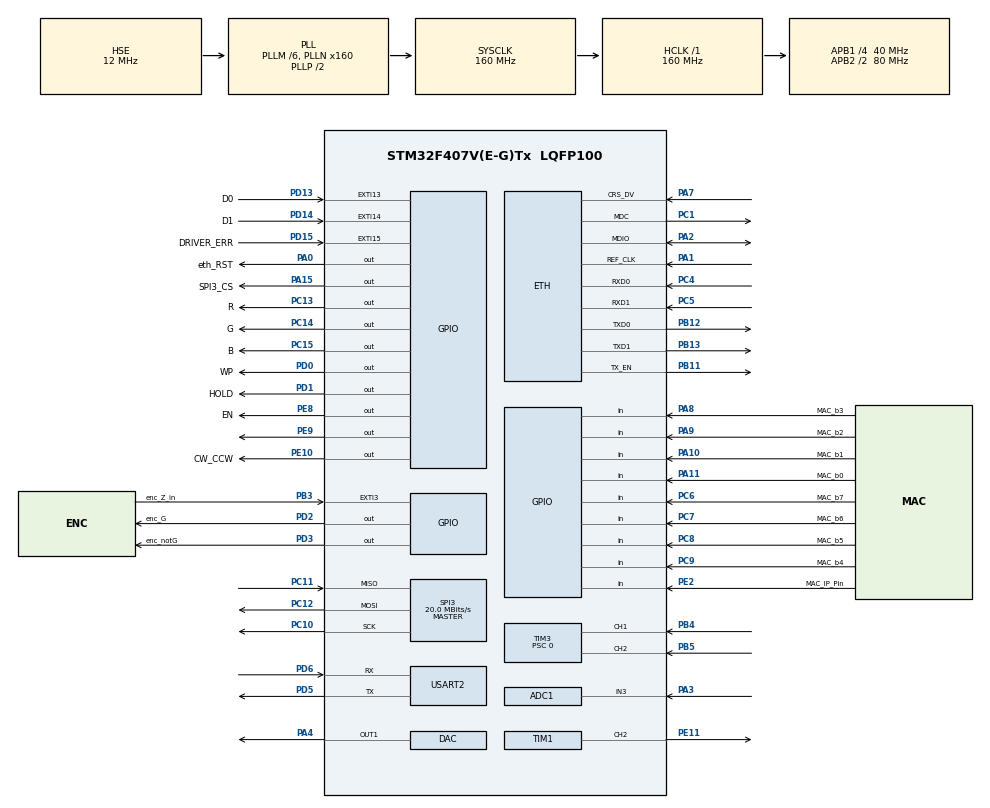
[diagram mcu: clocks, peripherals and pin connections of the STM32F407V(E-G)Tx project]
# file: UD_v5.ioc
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ADC1.Channel-0\#ChannelRegularConversion=ADC_CHANNEL_3
ADC1.NbrOfConversionFlag=1
ADC1.Rank-0\#ChannelRegularConversion=1
ADC1.SamplingTime-0\#ChannelRegularConversion=ADC_SAMPLETIME_3CYCLES
ADC1.master=1
Dma.Request0=USART2_TX
Dma.Request1=USART2_RX
Dma.USART2_RX.1.Direction=DMA_PERIPH_TO_MEMORY
Dma.USART2_RX.1.FIFOMode=DMA_FIFOMODE_DISABLE
Dma.USART2_RX.1.Instance=DMA1_Stream5
Dma.USART2_RX.1.MemDataAlignment=DMA_MDATAALIGN_BYTE
Dma.USART2_RX.1.MemInc=DMA_MINC_ENABLE
Dma.USART2_RX.1.Mode=DMA_CIRCULAR
Dma.USART2_RX.1.PeriphDataAlignment=DMA_PDATAALIGN_BYTE
Dma.USART2_RX.1.PeriphInc=DMA_PINC_DISABLE
Dma.USART2_RX.1.Priority=DMA_PRIORITY_MEDIUM
Dma.USART2_TX.0.Direction=DMA_MEMORY_TO_PERIPH
Dma.USART2_TX.0.FIFOMode=DMA_FIFOMODE_DISABLE
Dma.USART2_TX.0.Instance=DMA1_Stream6
Dma.USART2_TX.0.MemDataAlignment=DMA_MDATAALIGN_BYTE
Dma.USART2_TX.0.MemInc=DMA_MINC_ENABLE
Dma.USART2_TX.0.Mode=DMA_NORMAL
Dma.USART2_TX.0.PeriphDataAlignment=DMA_PDATAALIGN_BYTE
Dma.USART2_TX.0.PeriphInc=DMA_PINC_DISABLE
Dma.USART2_TX.0.Priority=DMA_PRIORITY_MEDIUM
ETH.MACAddr=44\:84\:23\:84\:44\:77
ETH.MediaInterface=HAL_ETH_RMII_MODE
ETH.PhyAddress=0
FREERTOS.Queues01=rxDataUART2,16,uint8_t,0,Dynamic,NULL,NULL
FREERTOS.Tasks01=mainTask,0,512,MainTask,Default,NULL,Dynamic,NULL,NULL;Motor_pool,0,256,motor_pool,Default,NULL,Dynamic,NULL,NULL;ledTask,0,512,LedTask,Default,NULL,Dynamic,NULL,NULL;callTask,0,256,CallTask,Default,NULL,Dynamic,NULL,NULL;uart_task,0,1024,uart_Task,Default,NULL,Dynamic,NULL,NULL;loggerTask,0,128,LoggerTask,Default,NULL,Dynamic,NULL,NULL
FREERTOS.configTOTAL_HEAP_SIZE=40960
FREERTOS.configUSE_NEWLIB_REENTRANT=1
FREERTOS.configAPPLICATION_ALLOCATED_HEAP=1
LWIP.BSP.number=1
LWIP.LWIP_DHCP=0
LWIP.LWIP_DNS=1
LWIP.LWIP_NETIF_EXT_STATUS_CALLBACK=1
LWIP.LWIP_NETIF_STATUS_CALLBACK=1
LWIP.Version=v2.1.2_Cube
LWIP0.BSP.STBoard=false
LWIP0.BSP.api=BSP_COMPONENT_DRIVER
LWIP0.BSP.component=LAN8742
LWIP0.BSP.instance=LAN8742
LWIP0.BSP.name=Driver_PHY
LWIP0.BSP.semaphore=S_LAN8742
LWIP0.BSP.solution=LAN8742
Mcu.Family=STM32F4
Mcu.Name=STM32F407V(E-G)Tx
Mcu.Package=LQFP100
NVIC.DMA1_Stream5_IRQn=true\:5\:0\:false\:false\:true\:true\:false\:true\:true
NVIC.DMA1_Stream6_IRQn=true\:5\:0\:false\:false\:true\:true\:false\:true\:true
NVIC.ETH_IRQn=true\:5\:0\:false\:false\:true\:true\:false\:true\:true
NVIC.EXTI15_10_IRQn=true\:5\:0\:false\:false\:true\:true\:true\:true\:true
NVIC.EXTI3_IRQn=true\:5\:0\:false\:false\:true\:true\:true\:true\:true
NVIC.PriorityGroup=NVIC_PRIORITYGROUP_4
NVIC.TIM1_CC_IRQn=true\:5\:0\:false\:false\:true\:true\:true\:true\:true
NVIC.TIM1_UP_TIM10_IRQn=true\:5\:0\:false\:false\:true\:true\:true\:true\:true
NVIC.TIM3_IRQn=true\:5\:0\:false\:false\:true\:true\:true\:true\:true
NVIC.TIM4_IRQn=true\:5\:0\:false\:false\:true\:true\:true\:true\:true
NVIC.TIM6_DAC_IRQn=true\:5\:0\:false\:false\:true\:true\:true\:true\:true
NVIC.TIM7_IRQn=true\:15\:0\:false\:false\:true\:false\:false\:true\:true
NVIC.TimeBase=TIM7_IRQn
NVIC.TimeBaseIP=TIM7
NVIC.USART2_IRQn=true\:5\:0\:false\:false\:true\:true\:true\:true\:true
PA0-WKUP.GPIO_Label=eth_RST
PA0-WKUP.Signal=GPIO_Output
PA1.GPIO_PuPd=GPIO_NOPULL
PA1.Mode=RMII
PA1.Signal=ETH_REF_CLK
PA10.GPIO_Label=MAC_b1
PA10.GPIO_PuPd=GPIO_PULLDOWN
PA10.Signal=GPIO_Input
PA11.GPIO_Label=MAC_b0
PA11.GPIO_PuPd=GPIO_PULLDOWN
PA11.Signal=GPIO_Input
PA13.Mode=Serial_Wire
PA13.Signal=SYS_JTMS-SWDIO
PA14.Mode=Serial_Wire
PA14.Signal=SYS_JTCK-SWCLK
PA15.GPIO_Label=SPI3_CS
PA15.Signal=GPIO_Output
PA2.GPIO_PuPd=GPIO_NOPULL
PA2.Mode=RMII
PA2.Signal=ETH_MDIO
PA3.Signal=ADCx_IN3
PA4.Signal=COMP_DAC1_group
PA7.GPIO_PuPd=GPIO_NOPULL
PA7.Mode=RMII
PA7.Signal=ETH_CRS_DV
PA8.GPIO_Label=MAC_b3
PA8.GPIO_PuPd=GPIO_PULLDOWN
PA8.Signal=GPIO_Input
PA9.GPIO_Label=MAC_b2
PA9.GPIO_PuPd=GPIO_PULLDOWN
PA9.Signal=GPIO_Input
PB11.GPIO_PuPd=GPIO_NOPULL
PB11.Mode=RMII
PB11.Signal=ETH_TX_EN
PB12.GPIO_PuPd=GPIO_NOPULL
PB12.Mode=RMII
PB12.Signal=ETH_TXD0
PB13.GPIO_PuPd=GPIO_NOPULL
PB13.Mode=RMII
PB13.Signal=ETH_TXD1
PB3.GPIO_Label=enc_Z_in
PB3.Signal=GPXTI3
PB4.Signal=S_TIM3_CH1
PB5.Signal=S_TIM3_CH2
PC1.GPIO_PuPd=GPIO_NOPULL
PC1.Mode=RMII
PC1.Signal=ETH_MDC
PC10.Mode=Full_Duplex_Master
PC10.Signal=SPI3_SCK
PC11.Mode=Full_Duplex_Master
PC11.Signal=SPI3_MISO
PC12.Mode=Full_Duplex_Master
PC12.Signal=SPI3_MOSI
PC13-ANTI_TAMP.GPIO_Label=R
PC13-ANTI_TAMP.PinState=GPIO_PIN_SET
PC13-ANTI_TAMP.Signal=GPIO_Output
PC14-OSC32_IN.GPIO_Label=G
PC14-OSC32_IN.PinState=GPIO_PIN_SET
PC14-OSC32_IN.Signal=GPIO_Output
PC15-OSC32_OUT.GPIO_Label=B
PC15-OSC32_OUT.PinState=GPIO_PIN_SET
PC15-OSC32_OUT.Signal=GPIO_Output
PC4.GPIO_PuPd=GPIO_NOPULL
PC4.Mode=RMII
PC4.Signal=ETH_RXD0
PC5.GPIO_PuPd=GPIO_NOPULL
PC5.Mode=RMII
PC5.Signal=ETH_RXD1
PC6.GPIO_Label=MAC_b7
PC6.GPIO_PuPd=GPIO_PULLDOWN
PC6.Signal=GPIO_Input
PC7.GPIO_Label=MAC_b6
PC7.GPIO_PuPd=GPIO_PULLDOWN
PC7.Signal=GPIO_Input
PC8.GPIO_Label=MAC_b5
PC8.GPIO_PuPd=GPIO_PULLDOWN
PC8.Signal=GPIO_Input
PC9.GPIO_Label=MAC_b4
PC9.GPIO_PuPd=GPIO_PULLDOWN
PC9.Signal=GPIO_Input
PD0.GPIO_Label=WP
PD0.Signal=GPIO_Output
PD1.GPIO_Label=HOLD
PD1.Signal=GPIO_Output
PD13.GPIO_Label=D0
PD13.GPIO_ModeDefaultEXTI=GPIO_MODE_IT_RISING
PD13.GPIO_PuPd=GPIO_PULLDOWN
PD13.Signal=GPXTI13
PD14.GPIO_Label=D1
PD14.GPIO_ModeDefaultEXTI=GPIO_MODE_IT_RISING
PD14.GPIO_PuPd=GPIO_PULLDOWN
PD14.Signal=GPXTI14
PD15.GPIO_Label=DRIVER_ERR
PD15.GPIO_ModeDefaultEXTI=GPIO_MODE_IT_RISING
PD15.GPIO_PuPd=GPIO_PULLDOWN
PD15.Signal=GPXTI15
PD2.GPIO_Label=enc_G
PD2.GPIO_ModeDefaultOutputPP=GPIO_MODE_OUTPUT_PP
PD2.GPIO_PuPd=GPIO_NOPULL
PD2.GPIO_Speed=GPIO_SPEED_FREQ_LOW
PD2.PinState=GPIO_PIN_RESET
PD2.Signal=GPIO_Output
PD3.GPIO_Label=enc_notG
PD3.GPIO_ModeDefaultOutputPP=GPIO_MODE_OUTPUT_PP
PD3.GPIO_PuPd=GPIO_NOPULL
PD3.GPIO_Speed=GPIO_SPEED_FREQ_LOW
PD3.PinState=GPIO_PIN_RESET
PD3.Signal=GPIO_Output
PD5.Mode=Asynchronous
PD5.Signal=USART2_TX
PD6.Mode=Asynchronous
PD6.Signal=USART2_RX
PE10.GPIO_Label=CW_CCW
PE10.Signal=GPIO_Output
PE11.GPIO_Speed=GPIO_SPEED_FREQ_HIGH
PE11.Signal=S_TIM1_CH2
PE2.GPIO_Label=MAC_IP_Pin
PE2.GPIO_PuPd=GPIO_PULLDOWN
PE2.Signal=GPIO_Input
PE8.GPIO_Label=EN
PE8.Signal=GPIO_Output
PE9.Signal=GPIO_Output
PH0-OSC_IN.Mode=HSE-External-Oscillator
PH0-OSC_IN.Signal=RCC_OSC_IN
PH1-OSC_OUT.Mode=HSE-External-Oscillator
PH1-OSC_OUT.Signal=RCC_OSC_OUT
ProjectManager.HeapSize=0x4000
ProjectManager.StackSize=0x4000
ProjectManager.TargetToolchain=STM32CubeIDE
RCC.48MHZClocksFreq_Value=80000000
RCC.AHBFreq_Value=160000000
RCC.APB1CLKDivider=RCC_HCLK_DIV4
RCC.APB1Freq_Value=40000000
RCC.APB1TimFreq_Value=80000000
RCC.APB2CLKDivider=RCC_HCLK_DIV2
RCC.APB2Freq_Value=80000000
RCC.APB2TimFreq_Value=160000000
RCC.CortexFreq_Value=160000000
RCC.HCLKFreq_Value=160000000
RCC.HSE_VALUE=12000000
RCC.HSI_VALUE=16000000
RCC.LSE_VALUE=32768
RCC.PLLM=6
RCC.PLLN=160
RCC.PLLSourceVirtual=RCC_PLLSOURCE_HSE
RCC.SYSCLKFreq_VALUE=160000000
RCC.SYSCLKSource=RCC_SYSCLKSOURCE_PLLCLK
RCC.VCOOutputFreq_Value=320000000
SH.ADCx_IN3.0=ADC1_IN3,IN3
SH.COMP_DAC1_group.0=DAC_OUT1,DAC_OUT1
SH.S_TIM1_CH2.0=TIM1_CH2,PWM Generation2 CH2
SH.S_TIM3_CH1.0=TIM3_CH1,Encoder_Interface
SH.S_TIM3_CH2.0=TIM3_CH2,Encoder_Interface
SPI3.CalculateBaudRate=20.0 MBits/s
SPI3.Direction=SPI_DIRECTION_2LINES
SPI3.Mode=SPI_MODE_MASTER
SPI3.VirtualType=VM_MASTER
TIM1.AutoReloadPreload=TIM_AUTORELOAD_PRELOAD_ENABLE
TIM1.Channel-PWM\ Generation2\ CH2=TIM_CHANNEL_2
TIM1.Period=10000
TIM1.Prescaler=7
TIM1.TIM_MasterOutputTrigger=TIM_TRGO_UPDATE
TIM3.AutoReloadPreload=TIM_AUTORELOAD_PRELOAD_ENABLE
TIM3.Channel-Output\ Compare3\ No\ Output=TIM_CHANNEL_3
TIM3.Channel-Output\ Compare4\ No\ Output=TIM_CHANNEL_4
TIM3.ClockDivision=TIM_CLOCKDIVISION_DIV1
TIM3.CounterMode=TIM_COUNTERMODE_UP
TIM3.EncoderMode=TIM_ENCODERMODE_TI1
TIM3.IC1Filter=7
TIM3.IC1Prescaler=TIM_ICPSC_DIV1
TIM3.IC2Filter=7
TIM3.IC2Prescaler=TIM_ICPSC_DIV1
TIM3.OCMode_3=TIM_OCMODE_TIMING
TIM3.Period=65535
TIM3.Prescaler=0
TIM4.AutoReloadPreload=TIM_AUTORELOAD_PRELOAD_DISABLE
TIM4.Channel-Output\ Compare1\ No\ Output=TIM_CHANNEL_1
TIM4.Channel-Output\ Compare2\ No\ Output=TIM_CHANNEL_2
TIM4.Period=1000
TIM4.Prescaler=0
TIM6.AutoReloadPreload=TIM_AUTORELOAD_PRELOAD_ENABLE
TIM6.Period=100-1
TIM6.Prescaler=80-1
TIM6.TIM_MasterOutputTrigger=TIM_TRGO_RESET
USART2.VirtualMode=VM_ASYNC
VP_FREERTOS_VS_CMSIS_V1.Mode=CMSIS_V1
VP_LWIP_VS_Enabled.Mode=Enabled
VP_SYS_VS_tim7.Mode=TIM7
VP_TIM1_VS_ClockSourceINT.Mode=Internal
VP_TIM3_VS_no_output3.Mode=Output Compare3 No Output
VP_TIM3_VS_no_output4.Mode=Output Compare4 No Output
VP_TIM4_VS_ClockSourceITR.Mode=TriggerSource_ITR0
VP_TIM4_VS_ControllerModeClock.Mode=Clock Mode
VP_TIM4_VS_no_output1.Mode=Output Compare1 No Output
VP_TIM4_VS_no_output2.Mode=Output Compare2 No Output
VP_TIM6_VS_ClockSourceINT.Mode=Enable_Timer
VP_TIM6_VS_OPM.Mode=OPM_bit
board=custom

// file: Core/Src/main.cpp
/* USER CODE BEGIN Header */
/**
 ******************************************************************************
 * @file           : main.c
 * @brief          : Main program body
 ******************************************************************************
 * @attention
 *
 * Copyright (c) 2022 STMicroelectronics.
 * All rights reserved.
 *
 * This software is licensed under terms that can be found in the LICENSE file
 * in the root directory of this software component.
 * If no LICENSE file comes with this software, it is provided AS-IS.
 *
 ******************************************************************************
 */
/* USER CODE END Header */
#include "main.h"
#include "cmsis_os.h"
#include "adc.h"
#include "dac.h"
#include "dma.h"
#include "lwip.h"
#include "spi.h"
#include "tim.h"
#include "usart.h"
#include "gpio.h"

/* USER CODE BEGIN Includes */
#include "flash_spi.h"
#include "Delay_us_DWT.h"
#include "LED.h"
#include "externDriver.hpp"
/* USER CODE END Includes */

/* USER CODE BEGIN PTD */

// Размещение метаданных по фиксированному адресу с помощью атрибута section
__attribute__((section(".metadata")))
const meta_t firmware_metadata = {
    .key_start = METADATA_KEY,
    .version = FIRMWARE_VERSION,
    .name_proj = FIRMWARE_NAME,
    .reserved = 0
};
/* USER CODE END PTD */

/* USER CODE BEGIN PV */
uint8_t ucHeap[ configTOTAL_HEAP_SIZE ] __attribute__((section(".ccmram"))) = {0};
uint32_t count_tic = 0; //для замеров времени выполнения кода
extern TIM_HandleTypeDef htim3;
//TIM_HandleTypeDef no;
settings_t settings = {dir::CW, 1, 1};

extern_driver *pMotor;
extern_driver ext_drive(&settings, &htim4, &htim1, TIM_CHANNEL_2, &htim6, &htim3);
led LED_IPadr;
led LED_error;
led LED_OSstart;

flash mem_spi;
pins_spi_t ChipSelect = {SPI3_CS_GPIO_Port, SPI3_CS_Pin};
pins_spi_t WriteProtect = {WP_GPIO_Port, WP_Pin};
pins_spi_t Hold = {HOLD_GPIO_Port, HOLD_Pin};
bool resetSettings = false;

// Глобальный экземпляр логгера
UartLogger_t logger;

// Локальный буфер для DMA передачи
char txBuffer[MAX_MESSAGE_SIZE];
// Пул сообщений и буфер для него
LogMessage_t messagePool[QUEUE_SIZE];
uint8_t messagePoolUsed[QUEUE_SIZE];
osMutexId poolMutexHandle;

uint8_t message_rx[message_RX_LENGTH];
uint8_t UART2_rx[UART2_RX_LENGTH];
uint16_t indx_message_rx = 0;
volatile uint32_t dbg_rx_callback_count = 0;
volatile uint16_t dbg_rx_last_size = 0;
extern osMessageQId rxDataUART2Handle;
/* USER CODE END PV */

void SystemClock_Config(void);
void MX_FREERTOS_Init(void);
/* USER CODE BEGIN PFP */
uint8_t ReadStraps();
void finishedBlink();
void timoutBlink();

#ifdef __GNUC__
#define PUTCHAR_PROTOTYPE extern "C" int __io_putchar(int ch)
#else
#define PUTCHAR_PROTOTYPE int fputc(int ch, FILE *f)
#endif

/* USER CODE END PFP */

int main(void)
{

  /* USER CODE BEGIN 1 */
	/* Настройка вектора прерываний на адрес приложения */
	SCB->VTOR = FLASH_BASE | 0x10000; /* 0x08010000 */
	__enable_irq();
  /* USER CODE END 1 */

  /* MCU Configuration--------------------------------------------------------*/

  /* Reset of all peripherals, Initializes the Flash interface and the Systick. */
  HAL_Init();

  /* Configure the system clock */
  SystemClock_Config();

  /* Initialize all configured peripherals */
  MX_GPIO_Init();
  MX_DMA_Init();
  MX_ADC1_Init();
  MX_SPI3_Init();
  MX_TIM1_Init();
  MX_TIM3_Init();
  MX_TIM6_Init();
  MX_DAC_Init();
  MX_TIM4_Init();
  MX_USART2_UART_Init();
  /* USER CODE BEGIN 2 */

	//DWT_Init();
	uint8_t endMAC = 0, IP = 100;

	HAL_GPIO_WritePin(eth_RST_GPIO_Port, eth_RST_Pin, GPIO_PIN_RESET);
	HAL_Delay(300);
	HAL_GPIO_WritePin(eth_RST_GPIO_Port, eth_RST_Pin, GPIO_PIN_SET);

	HAL_GPIO_WritePin(HOLD_GPIO_Port, HOLD_Pin, GPIO_PIN_SET);
	HAL_GPIO_WritePin(WP_GPIO_Port, WP_Pin, GPIO_PIN_SET);

	pMotor = &ext_drive;

	mem_spi.Init(&hspi3, 0, ChipSelect, WriteProtect, Hold, false);
	//HAL_Delay(100);
	mem_spi.Read(&settings);

	// если установлен джампер set
	// заходим в режим настройки
	bool StartSettings = false;

	/*
 	 //чистка внешней памяти
	for (int var = 0; var < 5; ++var) {

		if(HAL_GPIO_ReadPin(MAC_IP_Pin_GPIO_Port, MAC_IP_Pin_Pin)){
			//StartSettings = true;
			mem_spi.W25qxx_EraseChip();
			while(1)
			{
				HAL_GPIO_WritePin(G_GPIO_Port, G_Pin, GPIO_PIN_RESET); // PC14 VD3
				HAL_Delay(300);
				HAL_GPIO_WritePin(G_GPIO_Port, G_Pin, GPIO_PIN_SET); // PC14 VD3
				HAL_Delay(300);
			}
		}else{
			//StartSettings = false;
			break;
		}

		HAL_Delay(30);
	}*/

	//режим настройки
	if(StartSettings){
		StartSettings = false;
		HAL_GPIO_WritePin(G_GPIO_Port, G_Pin, GPIO_PIN_RESET); // PC14 VD3

		endMAC = ReadStraps();
		HAL_Delay(300);
		HAL_GPIO_WritePin(R_GPIO_Port, R_Pin, GPIO_PIN_RESET); // PC13 VD2

		// ждем снятия джампера или таймаута
		int time;
		bool Settings;
		for (time = 0; time < 600; ++time) {

			if(HAL_GPIO_ReadPin(MAC_IP_Pin_GPIO_Port, MAC_IP_Pin_Pin)){
				Settings = true;
			}else{
				Settings = false;
				break;
			}

			HAL_Delay(100);
		}

		if(!Settings){ // if pin settings is 0
			IP = ReadStraps();
			HAL_Delay(300);
			HAL_GPIO_WritePin(B_GPIO_Port, B_Pin, GPIO_PIN_RESET); // PC15 VD4

			if((settings.version != 0) || (settings.version != 0xFF)){ // если считанные настройки не пусты то перезаписываем только изменения

				if(endMAC != 0xFF){
					settings.MAC[5] = endMAC;
				}

				if(IP != 0xFF){
					settings.saveIP.ip[3] = IP;
				}

				mem_spi.W25qxx_EraseSector(0);
				mem_spi.Write(settings);
				mem_spi.Read(&settings);

				finishedBlink();

				// and reset system
				HAL_Delay(500);
				NVIC_SystemReset();
			}else{
				resetSettings = true; // else reset all settings
			}
		}else{

			timoutBlink();
			// and reset system
			HAL_Delay(1000);
			NVIC_SystemReset();
		}

	}
	// Миграция v47 → v48: инициализируем поле флагов res1,
	// сохраняя старое поведение (всегда отключать EN при стопе).
	if (settings.version == 47) {
		settings.res1 = FLAG_DISABLE_ON_STOP; // старое поведение: всегда отключать EN при стопе
		settings.version = 48;
		mem_spi.W25qxx_EraseSector(0);
		if (!mem_spi.Write(settings)) {
			settings.version = 47; // откат версии при неудаче записи
		}
		mem_spi.Read(&settings);
	}

	// Миграция v48 → v49: перенос FLAG_DISABLE_ON_STOP (бит 0) → DISABLE_MODE (биты 3:2)
	// Старое значение 1 = "отключать всегда" → новый режим 1
	if (settings.version == 48) {
		uint8_t old_val = (settings.res1 & FLAG_DISABLE_ON_STOP) ? 1U : 0U;
		settings.res1 &= ~(FLAG_DISABLE_ON_STOP | DISABLE_MODE_MASK);
		settings.res1 |= ((uint32_t)old_val << DISABLE_MODE_SHIFT);
		settings.version = 49;
		mem_spi.W25qxx_EraseSector(0);
		if (!mem_spi.Write(settings)) {
			settings.version = 48; // откат версии при неудаче записи
		}
		mem_spi.Read(&settings);
	}

	if((settings.version == 0) || (settings.version == 0xFF) || resetSettings || settings.version != CURENT_VERSION)
	{
		//STM_LOG("Start reset settings");
		resetSettings = false;

		settings.Direct = dir::CW;
		settings.mod_rotation = mode_rotation_t::step_inf;
		settings.res2 = motor_t::stepper_motor;
		settings.Speed = 100;
		settings.StartSpeed = 100;
		settings.Accel = 500;
		settings.Slowdown = 200; // чем больше число тем медленне ускорение
		//settings.SlowdownDistancePer = 10.0; //10%
		settings.res = 0;
		settings.res1 = 0; // новая установка: disable_on_stop=0, en_invert=0
		settings.TimeOut = 60000;
		settings.DHCPset = true;

		settings.saveIP.ip[0] = 192;
		settings.saveIP.ip[1] = 168;
		settings.saveIP.ip[2] = 1;
		settings.saveIP.ip[3] = IP;

		settings.saveIP.mask[0] = 255;
		settings.saveIP.mask[1] = 255;
		settings.saveIP.mask[2] = 255;
		settings.saveIP.mask[3] = 0;

		settings.saveIP.gateway[0] = 192;
		settings.saveIP.gateway[1] = 168;
		settings.saveIP.gateway[2] = 1;
		settings.saveIP.gateway[3] = 1;

		settings.MAC[0] = 0x44;
		settings.MAC[1] = 0x84;
		settings.MAC[2] = 0x23;
		settings.MAC[3] = 0x84;
		settings.MAC[4] = 0x44;
		settings.MAC[5] = endMAC;

		settings.sensors_map.CW_sensor = 0;
		settings.sensors_map.CCW_sensor = 0;
		settings.sensors_map.detected = false;

		settings.version = CURENT_VERSION;

		//mem_spi.W25qxx_EraseSector(0);
		mem_spi.Write(settings);
		mem_spi.Read(&settings);
	}
	//HAL_Delay(500);
	mem_spi.SetUsedInOS(true); // switch to use in OS
  /* USER CODE END 2 */

  /* Call init function for freertos objects (in cmsis_os2.c) */
  MX_FREERTOS_Init();

  /* Start scheduler */
  osKernelStart();

  /* We should never get here as control is now taken by the scheduler */

  /* Infinite loop */
	while (1)
	{

	}
}

void SystemClock_Config(void)
{
  RCC_OscInitTypeDef RCC_OscInitStruct = {0};
  RCC_ClkInitTypeDef RCC_ClkInitStruct = {0};

  /** Configure the main internal regulator output voltage
  */
  __HAL_RCC_PWR_CLK_ENABLE();
  __HAL_PWR_VOLTAGESCALING_CONFIG(PWR_REGULATOR_VOLTAGE_SCALE1);

  /** Initializes the RCC Oscillators according to the specified parameters
  * in the RCC_OscInitTypeDef structure.
  */
  RCC_OscInitStruct.OscillatorType = RCC_OSCILLATORTYPE_HSE;
  RCC_OscInitStruct.HSEState = RCC_HSE_ON;
  RCC_OscInitStruct.PLL.PLLState = RCC_PLL_ON;
  RCC_OscInitStruct.PLL.PLLSource = RCC_PLLSOURCE_HSE;
  RCC_OscInitStruct.PLL.PLLM = 6;
  RCC_OscInitStruct.PLL.PLLN = 160;
  RCC_OscInitStruct.PLL.PLLP = RCC_PLLP_DIV2;
  RCC_OscInitStruct.PLL.PLLQ = 4;
  if (HAL_RCC_OscConfig(&RCC_OscInitStruct) != HAL_OK)
  {
    Error_Handler();
  }

  /** Initializes the CPU, AHB and APB buses clocks
  */
  RCC_ClkInitStruct.ClockType = RCC_CLOCKTYPE_HCLK|RCC_CLOCKTYPE_SYSCLK
                              |RCC_CLOCKTYPE_PCLK1|RCC_CLOCKTYPE_PCLK2;
  RCC_ClkInitStruct.SYSCLKSource = RCC_SYSCLKSOURCE_PLLCLK;
  RCC_ClkInitStruct.AHBCLKDivider = RCC_SYSCLK_DIV1;
  RCC_ClkInitStruct.APB1CLKDivider = RCC_HCLK_DIV4;
  RCC_ClkInitStruct.APB2CLKDivider = RCC_HCLK_DIV2;

  if (HAL_RCC_ClockConfig(&RCC_ClkInitStruct, FLASH_LATENCY_5) != HAL_OK)
  {
    Error_Handler();
  }
}

/* USER CODE BEGIN 4 */
PUTCHAR_PROTOTYPE
{
  HAL_UART_Transmit(&huart2, (uint8_t *)&ch, 1, HAL_MAX_DELAY);
  return ch;
}

uint8_t ReadStraps(){
	uint8_t tempStraps = 0;

	//Bit0
	if (HAL_GPIO_ReadPin(MAC_b0_GPIO_Port, MAC_b0_Pin)) SET_BIT(tempStraps,1<<0);
	else CLEAR_BIT(tempStraps,1<<0);
	//Bit1
	if (HAL_GPIO_ReadPin(MAC_b1_GPIO_Port, MAC_b1_Pin)) SET_BIT(tempStraps,1<<1);
	else CLEAR_BIT(tempStraps,1<<1);
	//Bit2
	if (HAL_GPIO_ReadPin(MAC_b2_GPIO_Port, MAC_b2_Pin)) SET_BIT(tempStraps,1<<2);
	else CLEAR_BIT(tempStraps,1<<2);
	//Bit3
	if (HAL_GPIO_ReadPin(MAC_b3_GPIO_Port, MAC_b3_Pin)) SET_BIT(tempStraps,1<<3);
	else CLEAR_BIT(tempStraps,1<<3);
	//Bit4
	if (HAL_GPIO_ReadPin(MAC_b4_GPIO_Port, MAC_b4_Pin)) SET_BIT(tempStraps,1<<4);
	else CLEAR_BIT(tempStraps,1<<4);
	//Bit5
	if (HAL_GPIO_ReadPin(MAC_b5_GPIO_Port, MAC_b5_Pin)) SET_BIT(tempStraps,1<<5);
	else CLEAR_BIT(tempStraps,1<<5);
	//Bit6
	if (HAL_GPIO_ReadPin(MAC_b6_GPIO_Port, MAC_b6_Pin)) SET_BIT(tempStraps,1<<6);
	else CLEAR_BIT(tempStraps,1<<6);
	//Bit7
	if (HAL_GPIO_ReadPin(MAC_b7_GPIO_Port, MAC_b7_Pin)) SET_BIT(tempStraps,1<<7);
	else CLEAR_BIT(tempStraps,1<<7);

	return tempStraps;
}

void finishedBlink(){
#define  timeBetween 300

	// finished blink
	HAL_GPIO_WritePin(B_GPIO_Port, B_Pin, GPIO_PIN_SET); // PC15 VD4
	HAL_GPIO_WritePin(R_GPIO_Port, R_Pin, GPIO_PIN_SET); // PC13 VD2
	HAL_GPIO_WritePin(G_GPIO_Port, G_Pin, GPIO_PIN_SET); // PC14 VD3

	for (int var = 0; var < 5; ++var) {
		HAL_GPIO_WritePin(G_GPIO_Port, G_Pin, GPIO_PIN_RESET); // PC14 VD3
		HAL_Delay(timeBetween);
		HAL_GPIO_WritePin(G_GPIO_Port, G_Pin, GPIO_PIN_SET); // PC14 VD3
		HAL_GPIO_WritePin(R_GPIO_Port, R_Pin, GPIO_PIN_RESET); // PC13 VD2
		HAL_Delay(timeBetween);
		HAL_GPIO_WritePin(R_GPIO_Port, R_Pin, GPIO_PIN_SET); // PC13 VD2
		HAL_GPIO_WritePin(B_GPIO_Port, B_Pin, GPIO_PIN_RESET); // PC15 VD4
		HAL_Delay(timeBetween);
		HAL_GPIO_WritePin(B_GPIO_Port, B_Pin, GPIO_PIN_SET); // PC15 VD4

	}

	HAL_GPIO_WritePin(B_GPIO_Port, B_Pin, GPIO_PIN_SET); // PC15 VD4
	HAL_GPIO_WritePin(R_GPIO_Port, R_Pin, GPIO_PIN_SET); // PC13 VD2
	HAL_GPIO_WritePin(G_GPIO_Port, G_Pin, GPIO_PIN_SET); // PC14 VD3
}

void timoutBlink(){
	// timOut plink  all
	HAL_GPIO_WritePin(B_GPIO_Port, B_Pin, GPIO_PIN_RESET); // PC15 VD4
	HAL_GPIO_WritePin(R_GPIO_Port, R_Pin, GPIO_PIN_RESET); // PC13 VD2
	HAL_GPIO_WritePin(G_GPIO_Port, G_Pin, GPIO_PIN_RESET); // PC14 VD3
	for (int var = 0; var < 5; ++var) {
		HAL_GPIO_TogglePin(B_GPIO_Port, B_Pin); // PC15 VD4
		HAL_GPIO_TogglePin(R_GPIO_Port, R_Pin); // PC13 VD2
		HAL_GPIO_TogglePin(G_GPIO_Port, G_Pin); // PC14 VD3
		HAL_Delay(800);
	}
}

// Обработчик прерывания DMA UART
void HAL_UART_TxCpltCallback(UART_HandleTypeDef *huart) {
    if (huart == logger.huart) {
        Logger_TxCpltCallback();
    }
}

void HAL_TIM_OC_DelayElapsedCallback(TIM_HandleTypeDef *htim){
    if (pMotor == nullptr) return;

    // TIM1 — генератор шагов (разгон/торможение)
    if (htim->Instance == TIM1) {
        pMotor->handleTimerInterrupt();
        return;
    }

    // TIM3 / TIM4 — feedback-таймер (энкодер или счётчик шагов)
    // Преобразуем hal-канал в номер канала для handleFeedbackCompare
    uint32_t channel = 0;
    switch (htim->Channel) {
        case HAL_TIM_ACTIVE_CHANNEL_1: channel = TIM_CHANNEL_1; break;
        case HAL_TIM_ACTIVE_CHANNEL_2: channel = TIM_CHANNEL_2; break;
        case HAL_TIM_ACTIVE_CHANNEL_3: channel = TIM_CHANNEL_3; break;
        case HAL_TIM_ACTIVE_CHANNEL_4: channel = TIM_CHANNEL_4; break;
        default: return;
    }
    pMotor->handleFeedbackCompare(htim, channel);
}

void HAL_GPIO_EXTI_Callback(uint16_t GPIO_Pin) {
	if ((GPIO_Pin == D0_Pin) || (GPIO_Pin == D1_Pin)) {
		pMotor->SensHandler(GPIO_Pin);
		//pMotor->StartDebounceTimer(GPIO_Pin);

	}

	if (GPIO_Pin == enc_Z_in_Pin) {
		//pMotor->SensHandler();
	}
}

void HAL_UARTEx_RxEventCallback(UART_HandleTypeDef *huart, uint16_t Size) {
    if (huart->Instance == USART2) {
        dbg_rx_callback_count++;
        dbg_rx_last_size = Size;

        if (Size > 0) {
            memcpy(&message_rx[indx_message_rx], UART2_rx, Size);
            indx_message_rx += Size;

            if ((message_rx[indx_message_rx - 1] == '\r') ||
                (message_rx[indx_message_rx - 1] == 0)) {
                message_rx[indx_message_rx] = 0;
                osStatus status = osMessagePut(rxDataUART2Handle, 0, 0);
                if (status != osOK) {
                    osEvent evt;
                    do { evt = osMessageGet(rxDataUART2Handle, 0); }
                    while (evt.status == osEventMessage);
                    osMessagePut(rxDataUART2Handle, 0, 0);
                }
                indx_message_rx = 0;
            }
        }

        HAL_UARTEx_ReceiveToIdle_IT(huart, UART2_rx, UART2_RX_LENGTH);
    }
}

/* USER CODE END 4 */

void HAL_TIM_PeriodElapsedCallback(TIM_HandleTypeDef *htim)
{
  if (htim->Instance == TIM7) {
    HAL_IncTick();
  }
  /* USER CODE BEGIN Callback 1 */

  // Обработка прерывания таймера генерации шагов
  if (htim->Instance == TIM1 && pMotor != nullptr) {
    //pMotor->handleTimerInterrupt();
  }

  if (htim->Instance == TIM4) {
    //HAL_IncTick();
	//pMotor->StepsAllHandler(__HAL_TIM_GET_COUNTER(htim));
	// что то пошло не так останов и сброс счетчиков
  }

  if (htim->Instance == TIM6)
  {
      pMotor->HandleDebounceTimeout();
  }
  /* USER CODE END Callback 1 */
}

void Error_Handler(void)
{
  /* USER CODE BEGIN Error_Handler_Debug */
	/* User can add his own implementation to report the HAL error return state */
	STM_LOG("Error handler");
	__disable_irq();
	while (1)
	{
	}
  /* USER CODE END Error_Handler_Debug */
}
